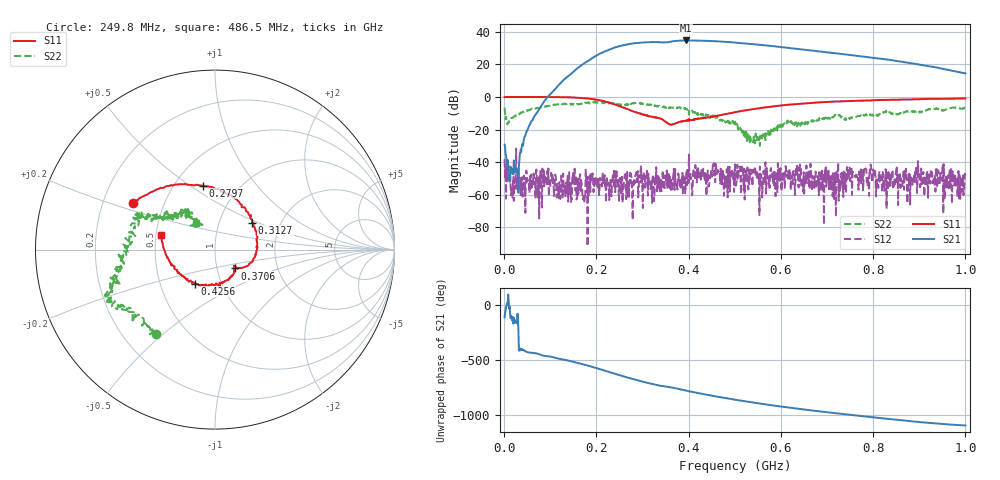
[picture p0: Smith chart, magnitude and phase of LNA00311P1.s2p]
! Created with skrf 1.9.0 (http://scikit-rf.org).
# Hz S RI R 50.0
!freq ReS11 ImS11 ReS21 ImS21 ReS12 ImS12 ReS22 ImS22
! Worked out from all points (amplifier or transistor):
!   1001 points, 1 MHz to 1 GHz, reference 50 ohm
!   highest |S21| = 34.7 dB at 394.6 MHz (marker M1)
!   |S21| within 3 dB of that: 257.3 MHz to 565.9 MHz (308.6 MHz wide, 75 % of centre)
!   unconditionally stable (mu >= 1): 296.8 MHz to 400.3 MHz; 400.9 MHz to 897.1 MHz; 897.1 MHz to end of sweep (the widest 3 of 23)
!   at 166.8 MHz: K = 1.04, MAG = 34.0 dB, |S12| = -51.1 dB
!   at 500.5 MHz: K = 1.22, MAG = 34.6 dB, |S12| = -41.3 dB
!   at 1 GHz: K = 3.55, MAG = 23.3 dB, |S12| = -49.0 dB
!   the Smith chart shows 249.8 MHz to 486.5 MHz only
!   S11 on the Smith chart (normalised r, x): 249.8 MHz: 0.33, +0.24; 279.7 MHz: 0.69, +0.56; 312.7 MHz: 1.44, +0.46; 370.6 MHz: 1.22, -0.26; 425.6 MHz: 0.75, -0.30; 486.5 MHz: 0.53, +0.10
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1000000  0.9868 0.00397  -0.0135 -0.0313  -0.0111 0.00543  0.3589 0.3027
1.08892e8  0.5109 -0.8507  -0.7938 -1.45  0.00138 0.000224  0.4288 -0.3829
1.67833e8  -0.2527 -0.8955  -9.523 -0.5207  -0.00185 -0.00119  0.0412 -0.6353
2.12788e8  -0.6966 -0.305  -14.6 17.98  0.000688 -0.00329  -0.2077 -0.6381
2.29771e8  -0.6572 -0.00995  -8.486 28.15  -0.00077 -0.00209  -0.2585 -0.5932
2.49751e8  -0.4581 0.261  5.607 36.01  -0.00179 0.000291  -0.3265 -0.469
2.79721e8  -0.0651 0.356  31.07 31.27  -0.00155 0.00102  -0.5725 -0.3057
3.12688e8  0.2077 0.1503  47.44 7.204  0.00423 -0.00133  -0.5359 -0.1929
3.34666e8  0.2274 -0.0287  47.11 -10.2  -0.00393 0.000662  -0.5109 -0.0274
3.7063e8  0.1119 -0.105  41.52 -32.14  -0.00565 0.00241  -0.4284 0.1336
3.94606e8  0.0453 -0.1808  27.11 -47.29  0.00212 0.00113  -0.3879 0.1759
4.25575e8  -0.1136 -0.1892  3.451 -53.4  0.00143 0.00302  -0.2175 0.1903
4.53547e8  -0.2334 -0.0902  -16.16 -49.29  0.00679 0.00231  -0.1547 0.2205
4.86514e8  -0.2983 0.0811  -32.74 -36.02  0.00151 -0.000666  -0.108 0.1471
5.005e8  -0.3045 0.159  -37.44 -28.82  -0.00173 0.0084  -0.0622 0.1623
5.4046e8  -0.2029 0.3721  -40.99 -8.068  0.00473 -0.00194  -0.0286 0.0397
5.88412e8  0.0201 0.524  -33.85 11.26  0.000729 -0.00052  -0.0891 -0.0629
6.67333e8  0.4123 0.5146  -13 23.06  0.000196 -0.00136  -0.1719 -0.0588
7.53247e8  0.6986 0.2907  3.818 18.83  0.00288 -0.00617  -0.2193 -0.0322
8.34166e8  0.8155 0.0169  10.24 9.373  -0.00125 -0.00133  -0.3381 -0.0587
9.18082e8  0.8274 -0.2755  8.866 1.121  -0.0013 -0.00219  -0.394 0.0765
1e9  0.7351 -0.5226  5.076 -1.539  -0.000314 0.00355  -0.3993 0.2323
